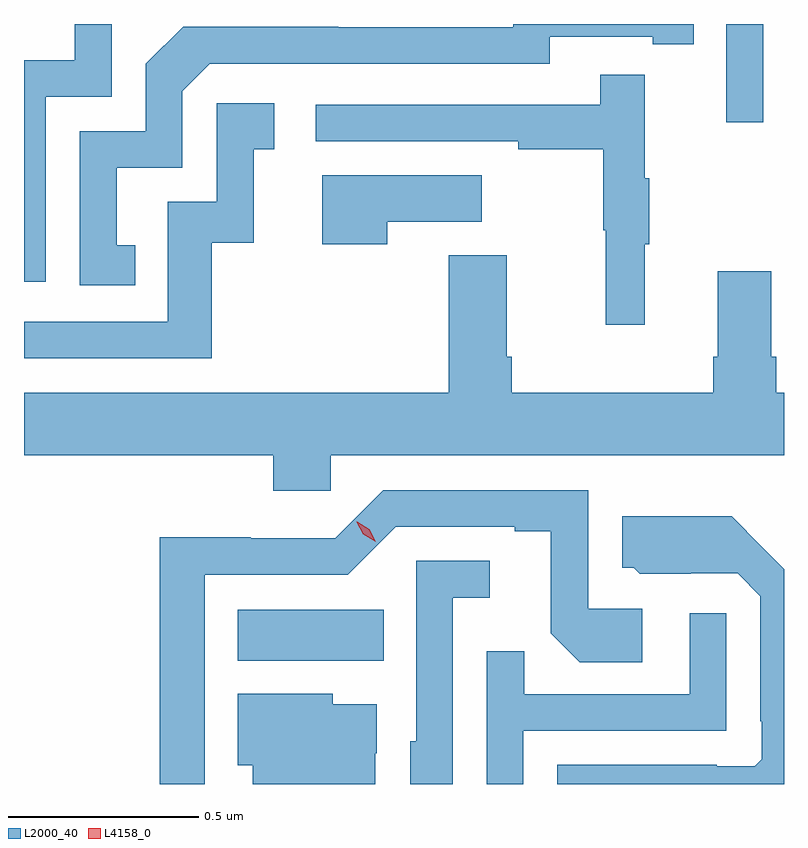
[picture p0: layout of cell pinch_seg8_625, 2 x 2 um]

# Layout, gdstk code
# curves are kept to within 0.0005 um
import gdstk
lib = gdstk.Library(unit=1e-6, precision=1e-09)
def R(c, l, rs):  # rectangles x0, y0, x1, y1
    for r in rs: c.add(gdstk.rectangle(r[:2], r[2:], *l))
def P(c, l, *ps):  # polygons
    for p in ps: c.add(gdstk.Polygon(p, *l))
L2000_40 = (2000, 40)
L4158_0 = (4158, 0)

pinch_seg8_625 = lib.new_cell('pinch_seg8_625')
R(pinch_seg8_625, L2000_40, [(146.03,1101.308,146.414,1101.442), (147.315,1102.725,147.412,1102.983)])
P(pinch_seg8_625, L2000_40, [(145.76,1102.401),(145.711,1102.401),(145.711,1102.605),(145.884,1102.605),(145.884,1102.806),(145.956,1102.878),(146.85,1102.878),(146.85,1102.95),(147.122,1102.95),(147.122,1102.93),(147.23,1102.93),(147.23,1102.983),(146.754,1102.983),(146.754,1102.974),(146.294,1102.974),(146.294,1102.976),(145.886,1102.976),(145.788,1102.878),(145.788,1102.701),(145.614,1102.701),(145.614,1102.296),(145.76,1102.296)],
  [(145.524,1102.791),(145.698,1102.791),(145.698,1102.983),(145.601,1102.983),(145.601,1102.887),(145.467,1102.887),(145.467,1102.305),(145.524,1102.305)],
  [(147.101,1102.403),(147.112,1102.403),(147.112,1102.577),(147.101,1102.577),(147.101,1102.849),(146.983,1102.849),(146.983,1102.77),(146.235,1102.77),(146.235,1102.674),(146.767,1102.674),(146.767,1102.654),(146.991,1102.654),(146.991,1102.44),(146.998,1102.44),(146.998,1102.191),(147.101,1102.191)],
  [(145.961,1102.407),(146.072,1102.407),(146.072,1102.653),(146.125,1102.653),(146.125,1102.774),(145.974,1102.774),(145.974,1102.515),(145.845,1102.515),(145.845,1102.2),(145.467,1102.2),(145.467,1102.104),(145.961,1102.104)],
  [(146.423,1102.463),(146.671,1102.463),(146.671,1102.585),(146.252,1102.585),(146.252,1102.404),(146.423,1102.404)],
  [(146.274,1101.848),(147.467,1101.848),(147.467,1102.012),(147.446,1102.012),(147.446,1102.108),(147.433,1102.108),(147.433,1102.333),(147.293,1102.333),(147.293,1102.108),(147.281,1102.108),(147.281,1102.012),(146.75,1102.012),(146.75,1102.108),(146.737,1102.108),(146.737,1102.375),(146.585,1102.375),(146.585,1102.012),(145.467,1102.012),(145.467,1101.848),(146.123,1101.848),(146.123,1101.755),(146.274,1101.755)],
  [(145.942,1101.534),(146.319,1101.534),(146.445,1101.66),(146.759,1101.66),(146.759,1101.648),(146.853,1101.648),(146.853,1101.38),(146.929,1101.304),(147.094,1101.304),(147.094,1101.444),(146.952,1101.444),(146.952,1101.756),(146.412,1101.756),(146.286,1101.63),(146.064,1101.63),(146.064,1101.632),(145.824,1101.632),(145.824,1100.983),(145.942,1100.983)],
  [(147.467,1101.548),(147.329,1101.688),(147.041,1101.688),(147.041,1101.552),(147.072,1101.552),(147.088,1101.536),(147.222,1101.536),(147.222,1101.537),(147.345,1101.537),(147.405,1101.477),(147.405,1101.148),(147.408,1101.148),(147.408,1101.048),(147.39,1101.03),(147.29,1101.03),(147.29,1101.034),(146.87,1101.034),(146.87,1100.983),(147.467,1100.983)],
  [(146.595,1101.473),(146.692,1101.473),(146.692,1101.57),(146.499,1101.57),(146.499,1101.096),(146.484,1101.096),(146.484,1100.983),(146.595,1100.983)],
  [(146.781,1101.123),(147.315,1101.123),(147.315,1101.433),(147.219,1101.433),(147.219,1101.219),(146.783,1101.219),(146.783,1101.332),(146.685,1101.332),(146.685,1100.983),(146.781,1100.983)],
  [(146.391,1101.064),(146.395,1101.064),(146.395,1101.193),(146.28,1101.193),(146.28,1101.22),(146.03,1101.22),(146.03,1101.033),(146.069,1101.033),(146.069,1100.983),(146.391,1100.983)])
P(pinch_seg8_625, L4158_0, [(146.392,1101.62),(146.36,1101.64),(146.343,1101.672),(146.343,1101.673),(146.344,1101.673),(146.375,1101.653),(146.392,1101.621),(146.392,1101.62)])

lib.write_gds('pinch_seg8_625.gds')
